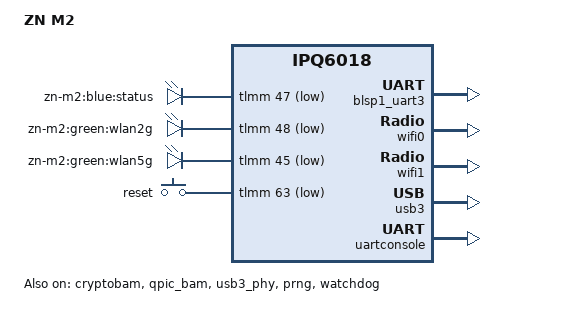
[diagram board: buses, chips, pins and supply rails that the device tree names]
/dts-v1/;

#include "qcom-ipq6018.dtsi"
#include <dt-bindings/gpio/gpio.h>
#include <dt-bindings/input/input.h>

/ {
    model = "ZN M2";
    compatible = "zn,zn-m2", "qcom,ipq6018";

    aliases {
        led-boot = &led_status;
        led-failsafe = &led_status;
        led-running = &led_status;
        led-upgrade = &led_status;
    };

    chosen {
        bootargs-append = " root=/dev/ubiblock0_1";
    };

    leds {
        compatible = "gpio-leds";

        led_status: status {
            label = "zn-m2:blue:status";
            gpios = <&tlmm 47 GPIO_ACTIVE_LOW>;
            default-state = "on";
        };

        wlan2g {
            label = "zn-m2:green:wlan2g";
            gpios = <&tlmm 48 GPIO_ACTIVE_LOW>;
        };

        wlan5g {
            label = "zn-m2:green:wlan5g";
            gpios = <&tlmm 45 GPIO_ACTIVE_LOW>;
        };
    };

    keys {
        compatible = "gpio-keys";

        reset {
            label = "reset";
            gpios = <&tlmm 63 GPIO_ACTIVE_LOW>;
            linux,code = <KEY_RESTART>;
            debounce-interval = <60>;
        };
    };
};

&blsp1_uart3 {
    status = "okay";
};

&cryptobam {
    status = "okay";
};

&qpic_bam {
    status = "okay";
};

&wifi0 {
    status = "okay";
    qcom,ath10k-calibration-variant = "ZN-M2";
};

&wifi1 {
    status = "okay";
    qcom,ath10k-calibration-variant = "ZN-M2";
};

&usb3 {
    status = "okay";
};

&usb3_phy {
    status = "okay";
};

&uartconsole {
    status = "okay";
};

&prng {
    status = "okay";
};

&blsp_dma {
    status = "okay";
};

&watchdog {
    status = "okay";
};
